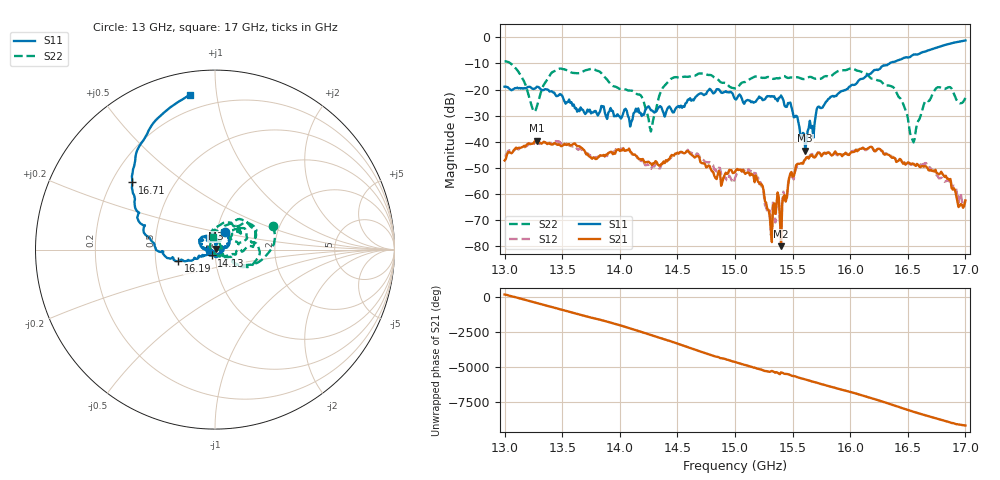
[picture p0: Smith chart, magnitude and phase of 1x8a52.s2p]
!Keysight Technologies,P9374A,MY57211807,A.19.30.04
!Date: Friday, May 08, 2026 14:14:53
!Correction: S11(C  2-Port  )
!S21(C  2-Port  )
!S12(C  2-Port  )
!S22(C  2-Port  )
!S2P File: Measurements: S11, S21, S12, S22:
# Hz S  dB  R 50
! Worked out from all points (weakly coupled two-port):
!   401 points, 13 GHz to 17 GHz, reference 50 ohm
!   highest |S21| = -39.63 dB at 13.28 GHz (marker M1); lowest = -80.0 dB at 15.4 GHz (marker M2)
!   lowest |S11| = -43.4 dB at 15.61 GHz (marker M3), VSWR 1.01, Z = 50.3 + j0.595 ohm
!   |S11| at or under -10 dB: start of sweep to 16.34 GHz
!   |S22| runs from -40.3 to -9.1 dB; largest |S21 - S12| = 0.0015
!   S11 on the Smith chart (normalised r, x): 13 GHz: 1.10, +0.22; 14.13 GHz: 0.96, -0.06; 16.19 GHz: 0.65, -0.09; 16.71 GHz: 0.28, +0.33; 17 GHz: 0.12, +0.84
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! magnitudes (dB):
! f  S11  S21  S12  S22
! 13 GHz  -18.9  -47.2  -45.3  -9.1
! 13.28 GHz  -18.9  -39.6  -40.2  -26.5
! 13.42 GHz  -21.1  -41.0  -40.1  -13.2
! 13.67 GHz  -27.6  -42.4  -43.0  -13.4
! 14.13 GHz  -28.6  -44.9  -44.8  -21.1
! 14.27 GHz  -27.9  -48.3  -50.4  -36.1
! 14.34 GHz  -26.8  -49.1  -50.2  -22.8
! 14.6 GHz  -23.9  -44.0  -43.8  -15.1
! 15 GHz  -23.6  -51.6  -53.9  -19.6
! 15.16 GHz  -25.0  -52.9  -51.7  -15.3
! 15.3 GHz  -22.5  -67.9  -66.2  -15.3
! 15.36 GHz  -23.6  -64.3  -64.1  -15.6
! 15.4 GHz  -22.3  -80.0  -75.8  -15.2
! 15.48 GHz  -25.0  -52.2  -52.3  -15.4
! 15.61 GHz  -43.4  -46.8  -46.8  -15.9
! 15.67 GHz  -34.0  -45.1  -44.7  -15.4
! 15.73 GHz  -26.5  -44.2  -44.0  -15.9
! 16.19 GHz  -13.3  -42.1  -42.2  -15.9
! 16.34 GHz  -10.1  -45.1  -44.7  -18.5
! 16.54 GHz  -6.9  -48.4  -48.5  -39.2
! 16.71 GHz  -4.5  -51.2  -50.8  -22.2
! 17 GHz  -1.2  -62.5  -62.2  -23.2
